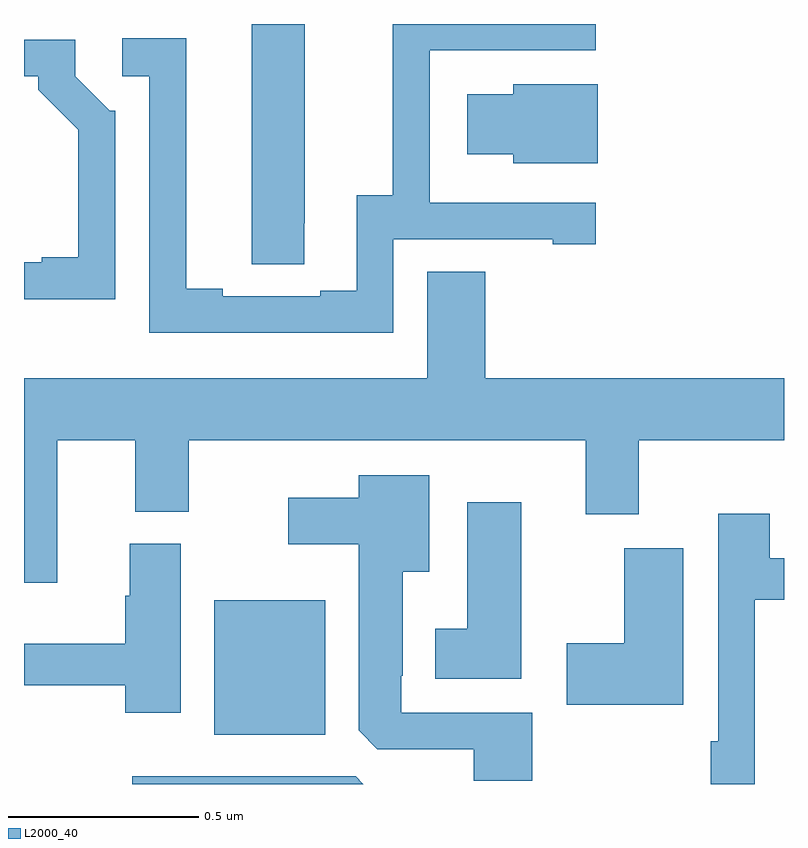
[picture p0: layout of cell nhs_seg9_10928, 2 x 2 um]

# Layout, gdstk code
import gdstk
lib = gdstk.Library(unit=1e-6, precision=1e-09)
def R(c, l, rs):  # rectangles x0, y0, x1, y1
    for r in rs: c.add(gdstk.rectangle(r[:2], r[2:], *l))
def P(c, l, *ps):  # polygons
    for p in ps: c.add(gdstk.Polygon(p, *l))
L2000_40 = (2000, 40)

nhs_seg9_10928 = lib.new_cell('nhs_seg9_10928')
R(nhs_seg9_10928, L2000_40, [(249.5,1211.63,249.793,1211.983)])
P(nhs_seg9_10928, L2000_40, [(249.972,1212.933),(250.391,1212.933),(250.391,1212.921),(250.504,1212.921),(250.504,1213.029),(250.068,1213.029),(250.068,1213.431),(250.504,1213.431),(250.504,1213.5),(249.97,1213.5),(249.97,1213.049),(249.875,1213.049),(249.875,1212.798),(249.779,1212.798),(249.779,1212.783),(249.523,1212.783),(249.523,1212.803),(249.427,1212.803),(249.427,1213.463),(249.258,1213.463),(249.258,1213.362),(249.33,1213.362),(249.33,1212.687),(249.972,1212.687)],
  [(249.738,1212.976),(249.739,1212.976),(249.739,1213.5),(249.599,1213.5),(249.599,1212.868),(249.738,1212.868)],
  [(249.24,1213.272),(249.225,1213.272),(249.135,1213.362),(249.135,1213.458),(249,1213.458),(249,1213.362),(249.038,1213.362),(249.038,1213.327),(249.143,1213.222),(249.143,1212.886),(249.047,1212.886),(249.047,1212.873),(249,1212.873),(249,1212.776),(249.24,1212.776)],
  [(250.51,1213.342),(250.287,1213.342),(250.287,1213.315),(250.166,1213.315),(250.166,1213.157),(250.287,1213.157),(250.287,1213.133),(250.51,1213.133)],
  [(249.088,1212.404),(249.293,1212.404),(249.293,1212.217),(249.433,1212.217),(249.433,1212.404),(250.478,1212.404),(250.478,1212.21),(250.618,1212.21),(250.618,1212.404),(251,1212.404),(251,1212.568),(250.214,1212.568),(250.214,1212.848),(250.061,1212.848),(250.061,1212.568),(249,1212.568),(249,1212.03),(249.088,1212.03)],
  [(250.337,1211.688),(249.993,1211.688),(249.993,1211.785),(249.997,1211.785),(249.997,1212.059),(250.066,1212.059),(250.066,1212.313),(249.881,1212.313),(249.881,1212.253),(249.696,1212.253),(249.696,1212.131),(249.881,1212.131),(249.881,1211.641),(249.93,1211.592),(250.184,1211.592),(250.184,1211.509),(250.337,1211.509)],
  [(250.309,1212.241),(250.166,1212.241),(250.166,1211.908),(250.082,1211.908),(250.082,1211.777),(250.309,1211.777)],
  [(250.923,1211.985),(251,1211.985),(251,1212.094),(250.963,1212.094),(250.963,1212.211),(250.827,1212.211),(250.827,1211.612),(250.807,1211.612),(250.807,1211.5),(250.923,1211.5)],
  [(249.412,1212.132),(249.278,1212.132),(249.278,1211.996),(249.266,1211.996),(249.266,1211.869),(249,1211.869),(249,1211.76),(249.266,1211.76),(249.266,1211.688),(249.412,1211.688)],
  [(250.735,1212.121),(250.58,1212.121),(250.58,1211.871),(250.428,1211.871),(250.428,1211.708),(250.735,1211.708)],
  [(249.873,1211.52),(249.285,1211.52),(249.285,1211.5),(249.893,1211.5)])

lib.write_gds('nhs_seg9_10928.gds')
